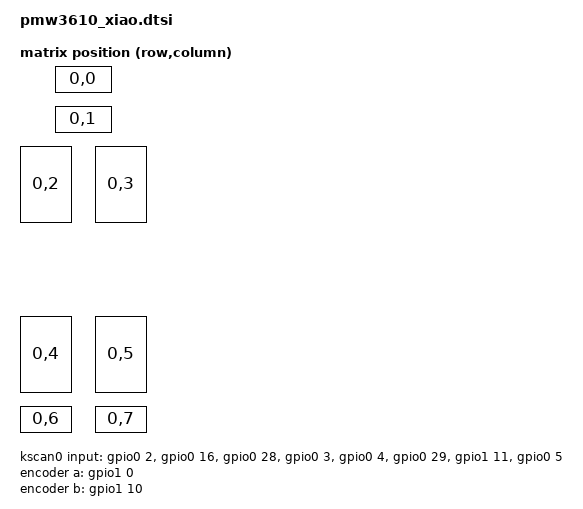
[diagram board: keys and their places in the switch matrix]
#include <physical_layouts.dtsi>
#include <dt-bindings/zmk/matrix_transform.h>

/ {

    chosen {
        zmk,kscan = &kscan0;
        zmk,physical-layout = &physical_layout0;
    };

    trackball_listener {
        compatible = "zmk,input-listener";
        device = <&trackball>;
    };

    matrix_transform0: matrix_transform0 {
        compatible = "zmk,matrix-transform";
        rows = <1>;
        columns = <8>;
        map = <
            RC(0,0) RC(0,1) RC(0,2) RC(0,3) RC(0,4) RC(0,5) RC(0,6) RC(0,7)
        >;
    };

    kscan0: kscan0 {
        compatible = "zmk,kscan-gpio-direct";
        wakeup-source;
        input-gpios
            = <&gpio0 2  (GPIO_ACTIVE_LOW | GPIO_PULL_UP)>
            , <&gpio0 16 (GPIO_ACTIVE_LOW | GPIO_PULL_UP)>
            , <&gpio0 28 (GPIO_ACTIVE_LOW | GPIO_PULL_UP)>
            , <&gpio0 3  (GPIO_ACTIVE_LOW | GPIO_PULL_UP)>
            , <&gpio0 4  (GPIO_ACTIVE_LOW | GPIO_PULL_UP)>
            , <&gpio0 29 (GPIO_ACTIVE_LOW | GPIO_PULL_UP)>
            , <&gpio1 11 (GPIO_ACTIVE_LOW | GPIO_PULL_UP)>
            , <&gpio0 5  (GPIO_ACTIVE_LOW | GPIO_PULL_UP)>
            ;
    };

    physical_layout0: physical_layout0 {
        compatible = "zmk,physical-layout";
        display-name = "Default";
        kscan = <&kscan0>;
        transform = <&matrix_transform0>;
        keys
            = <&key_physical_attrs 120  60  90  20 0 0 0>  /* Key 0: 0.02 (Top Center) */
            , <&key_physical_attrs 120  60  90 100 0 0 0>  /* Key 1: 0.16 (Upper Center) */
            , <&key_physical_attrs 110 160  20 180 0 0 0>  /* Key 2: 0.28 (Upper Left) */
            , <&key_physical_attrs 110 160 170 180 0 0 0>  /* Key 3: 0.03 (Upper Right) */
            , <&key_physical_attrs 110 160  20 520 0 0 0>  /* Key 4: 0.04 (Lower Left) */
            , <&key_physical_attrs 110 160 170 520 0 0 0>  /* Key 5: 0.29 (Lower Right) */
            , <&key_physical_attrs 110  60  20 700 0 0 0>  /* Key 6: 1.11 (Bottom Left) */
            , <&key_physical_attrs 110  60 170 700 0 0 0>  /* Key 7: 0.05 (Bottom Right) */
            ;
    };



    encoder: encoder {
        compatible = "alps,ec11";
        a-gpios = <&gpio1 0  (GPIO_ACTIVE_HIGH | GPIO_PULL_UP)>;
        b-gpios = <&gpio1 10 (GPIO_ACTIVE_HIGH | GPIO_PULL_UP)>;
        steps = <96>;
        status = "okay";
    };

    sensors: sensors {
        compatible = "zmk,keymap-sensors";
        sensors = <&encoder>;
        status = "okay";
        triggers-per-rotation = <12>;
    };
};


